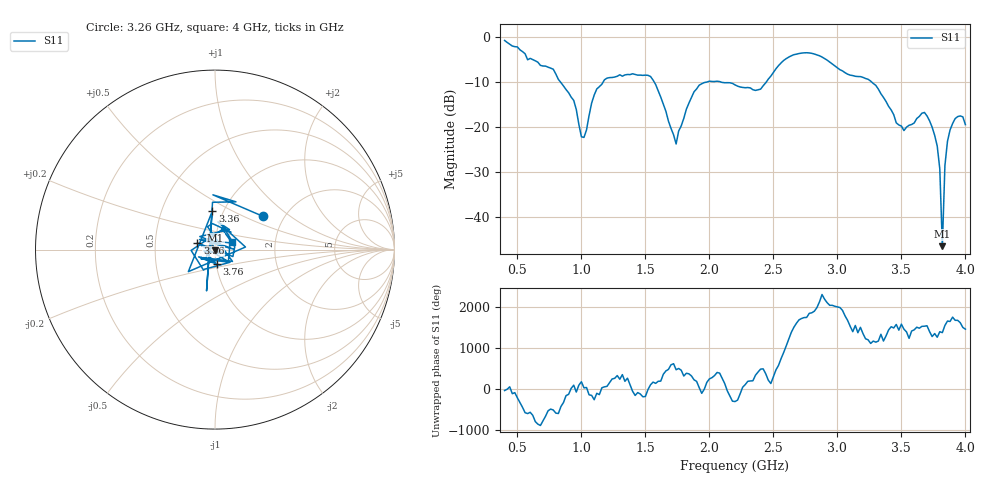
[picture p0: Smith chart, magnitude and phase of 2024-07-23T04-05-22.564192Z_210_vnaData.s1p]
!Created with skrf (http://scikit-rf.org).
# Hz S RI R 50.0
!freq ReS11 ImS11
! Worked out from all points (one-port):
!   181 points, 400 MHz to 4 GHz, reference 50 ohm
!   lowest |S11| = -46.4 dB at 3.82 GHz (marker M1), VSWR 1.01, Z = 50.2 - j0.414 ohm
!   |S11| at or under -10 dB: 1.569 GHz to 1.98 GHz (410.9 MHz wide, 23.2 % of centre); 2.091 GHz to 2.444 GHz (352.8 MHz wide, 15.6 % of centre); 3.268 GHz to end of sweep (the widest 3 of 4)
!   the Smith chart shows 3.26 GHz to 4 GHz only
!   S11 on the Smith chart (normalised r, x): 3.26 GHz: 1.56, +0.65; 3.36 GHz: 0.89, +0.40; 3.56 GHz: 0.82, +0.06; 3.76 GHz: 1.00, -0.16; 4 GHz: 1.21, +0.11
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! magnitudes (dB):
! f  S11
! 400 MHz  -0.8
! 780 MHz  -7.1
! 860 MHz  -10.9
! 940 MHz  -14.1
! 1 GHz  -22.1
! 1.02 GHz  -22.3
! 1.12 GHz  -11.5
! 1.3 GHz  -8.4
! 1.54 GHz  -8.8
! 1.74 GHz  -23.7
! 1.76 GHz  -20.8
! 1.92 GHz  -10.7
! 2.2 GHz  -10.6
! 2.4 GHz  -11.6
! 2.66 GHz  -3.9
! 3.1 GHz  -8.5
! 3.26 GHz  -9.8
! 3.36 GHz  -13.4
! 3.46 GHz  -19.0
! 3.56 GHz  -19.6
! 3.68 GHz  -16.7
! 3.76 GHz  -21.8
! 3.8 GHz  -29.2
! 3.82 GHz  -46.4
! 3.84 GHz  -28.5
! 3.86 GHz  -23.1
! 3.92 GHz  -18.1
! 4 GHz  -19.4
